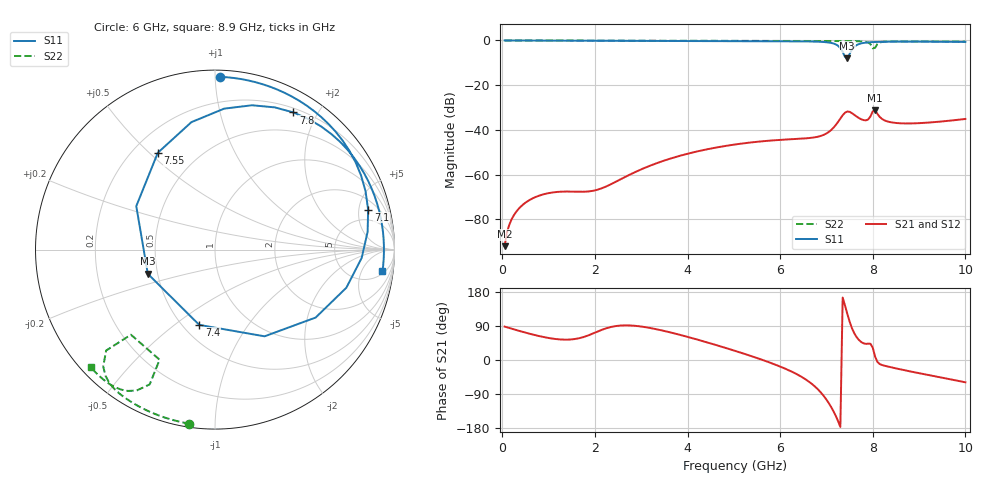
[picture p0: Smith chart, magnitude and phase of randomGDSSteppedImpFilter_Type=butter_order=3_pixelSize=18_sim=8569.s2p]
! freq	dB(S11)	phase(S11)	dB(S12)	phase(S12)
!  dB(S21)	phase(S21)	dB(S22)	phase(S22)
!S-par simulation data
#  GHz  S  DB  R 50
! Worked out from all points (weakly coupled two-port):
!   200 points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, 50 MHz to 10 GHz, reference 50 ohm
!   highest |S21| = -31.25 dB at 8.05 GHz (marker M1); lowest = -91.9 dB at 50 MHz (marker M2)
!   lowest |S11| = -8.0 dB at 7.45 GHz (marker M3), VSWR 2.32, Z = 22.1 - j7.07 ohm
!   |S11| at or under -10 dB: nowhere
!   |S22| runs from -3.5 to 0.0 dB; largest |S21 - S12| = 0
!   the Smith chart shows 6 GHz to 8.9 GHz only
!   S11 on the Smith chart (normalised r, x): 6 GHz: 0.04, +1.03; 7.1 GHz: 3.12, +6.26; 7.4 GHz: 0.60, -0.62; 7.55 GHz: 0.30, +0.53; 7.8 GHz: 0.25, +1.70; 8.9 GHz: 6, -13
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0.05  -0.00 -2.8  -91.94 88.2  -91.94 88.2  -0.00 -0.9
0.8  -0.06 -44.0  -69.33 63.0  -69.33 63.0  -0.02 -14.2
1.75  -0.11 -92.1  -67.62 60.4  -67.62 60.4  -0.04 -30.7
2.6  -0.14 -130.4  -61.56 91.3  -61.56 91.3  -0.06 -45.1
3.4  -0.17 -163.6  -54.37 79.3  -54.37 79.3  -0.08 -58.3
4.2  -0.21 164.4  -49.64 54.3  -49.64 54.3  -0.10 -71.0
5.05  -0.26 130.0  -46.42 23.2  -46.42 23.2  -0.13 -84.1
6  -0.33 88.5  -44.43 -17.3  -44.43 -17.3  -0.17 -98.4
6.7  -0.48 51.2  -43.44 -64.6  -43.44 -64.6  -0.21 -108.7
7.1  -1.09 14.6  -40.06 -123.8  -40.06 -123.8  -0.25 -114.8
7.25  -2.36 -16.2  -36.41 -160.9  -36.41 -160.9  -0.26 -117.2
7.35  -5.09 -60.3  -33.44 164.8  -33.44 164.8  -0.28 -118.8
7.4  -7.36 -101.8  -32.29 143.8  -32.29 143.8  -0.29 -119.7
7.45  -8.00 -160.2  -31.76 121.7  -31.76 121.7  -0.30 -120.5
7.55  -4.06 120.6  -32.48 84.1  -32.48 84.1  -0.31 -122.4
7.65  -2.08 86.3  -33.99 60.6  -33.99 60.6  -0.35 -124.5
7.8  -1.11 60.3  -35.59 44.0  -35.59 44.0  -0.49 -128.8
7.95  -0.78 44.7  -33.95 42.9  -33.95 42.9  -1.65 -137.2
8.05  -0.68 36.8  -31.25 9.0  -31.25 9.0  -3.26 -116.7
8.35  -0.56 18.4  -36.38 -18.0  -36.38 -18.0  -0.46 -126.6
8.9  -0.53 -7.4  -37.04 -32.4  -37.04 -32.4  -0.41 -136.6
10  -0.66 -48.5  -35.09 -58.8  -35.09 -58.8  -0.53 -152.7
